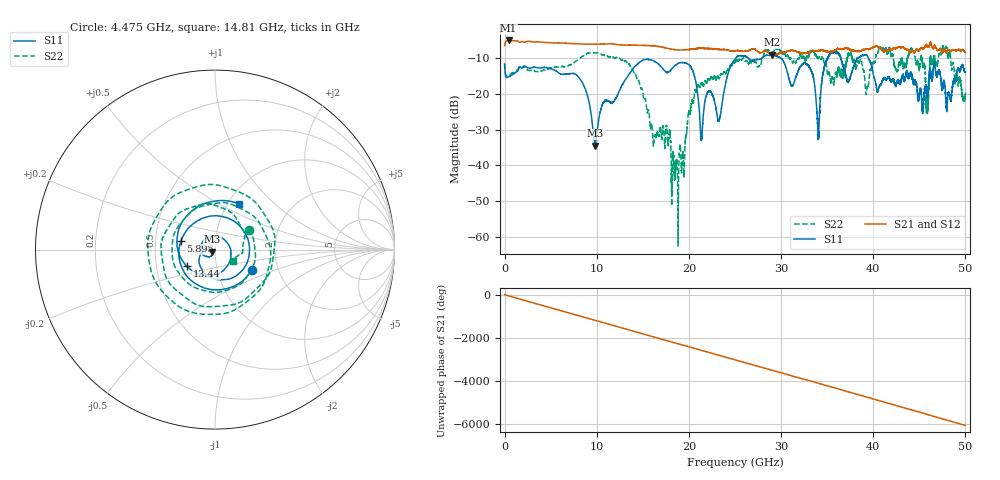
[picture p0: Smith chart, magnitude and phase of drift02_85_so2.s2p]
!Created with skrf (http://scikit-rf.org).
# Hz S RI R 50.0
!freq ReS11 ImS11 ReS21 ImS21 ReS12 ImS12 ReS22 ImS22
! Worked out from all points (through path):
!   10001 points, 300 kHz to 50 GHz, reference 50 ohm
!   highest |S21| = -5.04 dB at 430.3 MHz (marker M1); lowest = -9.0 dB at 29.01 GHz (marker M2)
!   group delay of S21, straight-line fit = 336 ps
!   lowest |S11| = -34.6 dB at 9.84 GHz (marker M3), VSWR 1.04, Z = 48.5 - j1.03 ohm
!   |S11| at or under -10 dB: start of sweep to 25.08 GHz; 29.97 GHz to 35.05 GHz (5.083 GHz wide, 15.6 % of centre); 39.48 GHz to end of sweep (the widest 3 of 8)
!   |S22| runs from -62.7 to -6.6 dB; largest |S21 - S12| = 0.023
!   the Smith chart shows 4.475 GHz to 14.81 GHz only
!   S11 on the Smith chart (normalised r, x): 4.475 GHz: 1.46, -0.35; 5.895 GHz: 0.68, +0.07; 13.44 GHz: 0.72, -0.14; 14.81 GHz: 1.12, +0.62
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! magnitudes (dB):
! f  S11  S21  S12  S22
! 300 kHz  -11.7  -6.5  -6.4  -11.5
! 430.3 MHz  -15.2  -5.0  -5.0  -14.8
! 4.475 GHz  -12.6  -5.6  -5.6  -13.2
! 5.895 GHz  -14.2  -5.7  -5.7  -12.4
! 8.335 GHz  -16.4  -6.0  -6.0  -9.6
! 9.84 GHz  -34.6  -6.1  -6.1  -8.5
! 13.44 GHz  -14.8  -6.4  -6.4  -11.6
! 14.81 GHz  -10.8  -6.4  -6.4  -18.5
! 16.67 GHz  -11.6  -6.7  -6.7  -31.4
! 18.66 GHz  -11.8  -7.7  -7.7  -39.1
! 20.38 GHz  -13.3  -7.5  -7.5  -21.7
! 21.37 GHz  -32.3  -7.2  -7.2  -16.9
! 23.31 GHz  -27.2  -7.5  -7.6  -15.6
! 25 GHz  -10.3  -7.9  -7.9  -11.2
! 29.01 GHz  -9.1  -9.0  -9.0  -8.1
! 33.34 GHz  -13.9  -8.1  -8.1  -8.1
! 34.02 GHz  -31.7  -7.9  -7.9  -10.0
! 35.54 GHz  -8.3  -8.1  -8.1  -15.4
! 41.67 GHz  -15.3  -7.6  -7.8  -7.4
! 45.87 GHz  -20.3  -6.9  -6.9  -25.7
! 47.76 GHz  -17.1  -7.5  -7.5  -7.8
! 50 GHz  -14.0  -8.4  -8.4  -19.9
